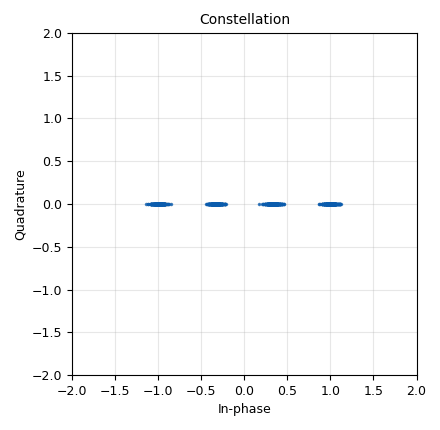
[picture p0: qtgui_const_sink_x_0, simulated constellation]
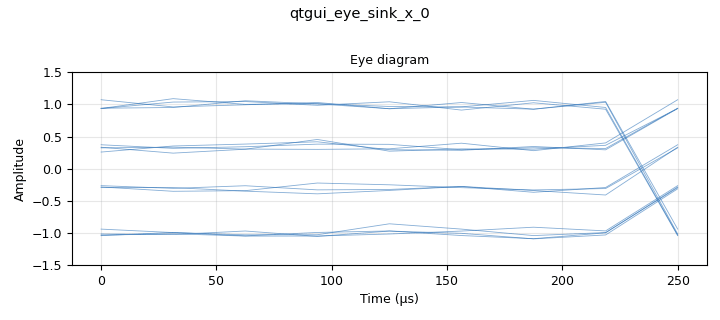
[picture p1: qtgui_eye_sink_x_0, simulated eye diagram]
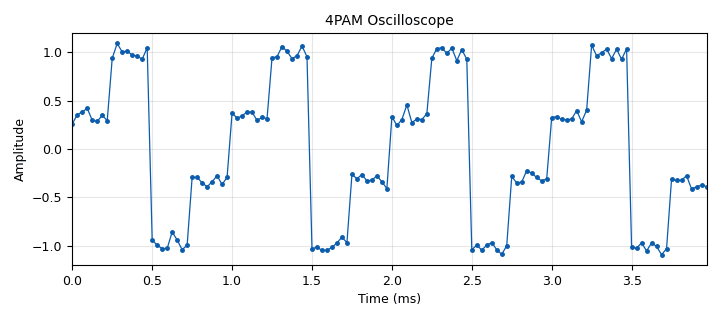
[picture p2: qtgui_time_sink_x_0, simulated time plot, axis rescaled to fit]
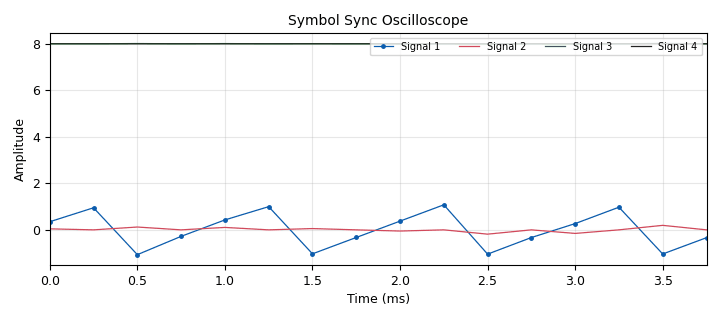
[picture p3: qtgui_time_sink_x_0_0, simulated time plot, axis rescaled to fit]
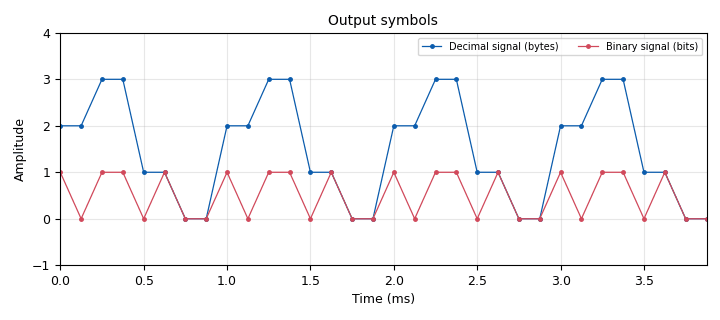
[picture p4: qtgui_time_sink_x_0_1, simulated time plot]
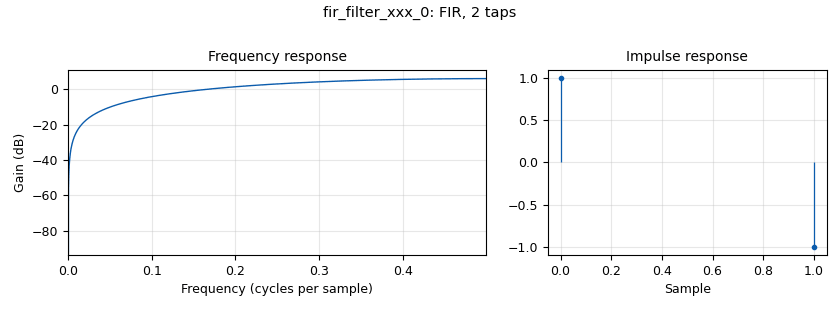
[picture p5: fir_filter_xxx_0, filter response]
options:
  parameters:
    author: Francisco Nicolás Pérez Fernández
    generate_options: qt_gui
    id: fourPAMDemodTest
    output_language: python
    title: 4-PAM Demodulation Test
  states: {}

blocks:
- name: fourPamConstellation
  id: variable_constellation
  parameters:
    comment: Verisure 4GFSK Constellation
    const_points: '[-1/3,-1,1/3,1]'
    dims: '1'
    normalization: digital.constellation.NO_NORMALIZATION
    precision: '8'
    rot_sym: '2'
    soft_dec_lut: '''auto'''
    sym_map: '[1,0,2,3]'
    type: calcdist
  states: {}
- name: samp_rate
  id: variable
  parameters:
    value: '32000'
  states: {}
- name: analog_fastnoise_source_x_0
  id: analog_fastnoise_source_x
  parameters:
    amp: '0.05'
    noise_type: analog.GR_GAUSSIAN
    samples: '8192'
    seed: '0'
    type: float
  states: {}
- name: analog_sig_source_x_0
  id: analog_sig_source_x
  parameters:
    amp: '1'
    freq: '1000'
    offset: '0'
    phase: '0'
    samp_rate: samp_rate
    type: float
    waveform: analog.GR_SAW_WAVE
  states: {}
- name: analog_sig_source_x_1
  id: analog_sig_source_x
  parameters:
    amp: '1'
    comment: Sampling signal
    freq: '2000'
    offset: '0'
    phase: '0'
    samp_rate: samp_rate
    type: float
    waveform: analog.GR_SQR_WAVE
  states: {}
- name: blocks_abs_xx_0
  id: blocks_abs_xx
  parameters:
    type: float
  states: {}
- name: blocks_add_const_vxx_0
  id: blocks_add_const_vxx
  parameters:
    const: '-1'
    type: float
  states: {}
- name: blocks_add_const_vxx_0_0
  id: blocks_add_const_vxx
  parameters:
    const: '3'
    type: float
  states: {state: disabled}
- name: blocks_add_xx_0
  id: blocks_add_xx
  parameters:
    type: float
  states: {}
- name: blocks_char_to_float_0
  id: blocks_char_to_float
  parameters:
    scale: '1'
  states: {}
- name: blocks_char_to_float_0_0
  id: blocks_char_to_float
  parameters:
    scale: '1'
  states: {}
- name: blocks_float_to_char_0
  id: blocks_float_to_char
  parameters:
    scale: '1'
  states: {}
- name: blocks_float_to_char_1
  id: blocks_float_to_char
  parameters:
    scale: '1'
  states: {state: disabled}
- name: blocks_float_to_complex_0
  id: blocks_float_to_complex
  parameters: {}
  states: {}
- name: blocks_float_to_complex_1
  id: blocks_float_to_complex
  parameters: {}
  states: {}
- name: blocks_multiply_const_xx_0
  id: blocks_multiply_const_xx
  parameters:
    const: 2*(4/3)
    type: float
  states: {}
- name: blocks_multiply_const_xx_0_0
  id: blocks_multiply_const_xx
  parameters:
    const: '3'
    type: float
  states: {state: disabled}
- name: blocks_multiply_const_xx_0_0_1
  id: blocks_multiply_const_xx
  parameters:
    const: 1/2
    type: float
  states: {state: disabled}
- name: blocks_null_source_0
  id: blocks_null_source
  parameters:
    type: float
  states: {}
- name: blocks_null_source_1
  id: blocks_null_source
  parameters:
    type: float
  states: {}
- name: blocks_repeat_0
  id: blocks_repeat
  parameters:
    interp: '2'
    type: byte
  states: {}
- name: blocks_sample_and_hold_xx_0
  id: blocks_sample_and_hold_xx
  parameters:
    type: float
  states: {}
- name: blocks_throttle_0
  id: blocks_throttle
  parameters:
    samples_per_second: samp_rate
    type: float
  states: {}
- name: blocks_unpack_k_bits_bb_0
  id: blocks_unpack_k_bits_bb
  parameters:
    comment: Aplies K factor interpolation
    k: '2'
  states: {}
- name: digital_constellation_decoder_cb_0
  id: digital_constellation_decoder_cb
  parameters:
    constellation: fourPamConstellation
  states: {}
- name: digital_constellation_receiver_cb_0
  id: digital_constellation_receiver_cb
  parameters: {}
  states: {state: disabled}
- name: digital_symbol_sync_xx_0
  id: digital_symbol_sync_xx
  parameters:
    damping: '1.0'
    loop_bw: '0.045'
    max_dev: '1.5'
    osps: '1'
    resamp_type: digital.IR_MMSE_8TAP
    sps: '8'
    ted_gain: '1.0'
    ted_type: digital.TED_ZERO_CROSSING
    type: ff
  states: {}
- name: fir_filter_xxx_0
  id: fir_filter_xxx
  parameters:
    comment: Derivator
    decim: '1'
    taps: '[1,-1]'
    type: fff
  states: {}
- name: note_0
  id: note
  parameters:
    note: '-Delta train generator-'
  states: {}
- name: note_0_0
  id: note
  parameters:
    note: '-4PAM Generator-'
  states: {}
- name: qtgui_const_sink_x_0
  id: qtgui_const_sink_x
  parameters:
    grid: 'True'
    name: '"Constellation"'
    size: '1024'
    type: complex
  states: {}
- name: qtgui_eye_sink_x_0
  id: qtgui_eye_sink_x
  parameters:
    grid: 'True'
    label1: Eye diagram
    samp_per_symbol: '4'
    size: '128'
    srate: samp_rate
    type: float
    update_time: '0.001'
    ymax: '1.5'
    ymin: '-1.5'
  states: {}
- name: qtgui_time_sink_x_0
  id: qtgui_time_sink_x
  parameters:
    grid: 'True'
    marker1: '0'
    name: '"4PAM Oscilloscope"'
    size: '128'
    srate: samp_rate
    type: float
    update_time: '0.001'
  states: {}
- name: qtgui_time_sink_x_0_0
  id: qtgui_time_sink_x
  parameters:
    grid: 'True'
    marker1: '0'
    name: '"Symbol Sync Oscilloscope"'
    nconnections: '4'
    size: int(128/8)
    srate: samp_rate/8
    type: float
    update_time: '0.001'
    ymax: '2'
    ymin: '-2'
  states: {}
- name: qtgui_time_sink_x_0_1
  id: qtgui_time_sink_x
  parameters:
    grid: 'True'
    label1: Decimal signal (bytes)
    label2: Binary signal (bits)
    marker1: '0'
    marker2: '0'
    name: '"Output symbols"'
    nconnections: '2'
    size: int(128/4)
    srate: samp_rate/4
    type: float
    update_time: '0.001'
    ymax: '4'
  states: {}
- name: virtual_sink_0
  id: virtual_sink
  parameters:
    stream_id: fourPAMsignal
  states: {}
- name: virtual_source_0
  id: virtual_source
  parameters:
    comment: 4-PAM Source
    stream_id: fourPAMsignal
  states: {}

connections:
- [analog_fastnoise_source_x_0, '0', blocks_add_xx_0, '1']
- [analog_sig_source_x_0, '0', blocks_throttle_0, '0']
- [analog_sig_source_x_1, '0', fir_filter_xxx_0, '0']
- [blocks_abs_xx_0, '0', blocks_float_to_char_0, '0']
- [blocks_add_const_vxx_0, '0', blocks_add_xx_0, '0']
- [blocks_add_const_vxx_0_0, '0', blocks_multiply_const_xx_0_0_1, '0']
- [blocks_add_xx_0, '0', blocks_float_to_complex_0, '0']
- [blocks_add_xx_0, '0', qtgui_eye_sink_x_0, '0']
- [blocks_add_xx_0, '0', qtgui_time_sink_x_0, '0']
- [blocks_add_xx_0, '0', virtual_sink_0, '0']
- [blocks_char_to_float_0, '0', qtgui_time_sink_x_0_1, '1']
- [blocks_char_to_float_0_0, '0', qtgui_time_sink_x_0_1, '0']
- [blocks_float_to_char_0, '0', blocks_sample_and_hold_xx_0, '1']
- [blocks_float_to_char_1, '0', blocks_repeat_0, '0']
- [blocks_float_to_char_1, '0', blocks_unpack_k_bits_bb_0, '0']
- [blocks_float_to_complex_0, '0', qtgui_const_sink_x_0, '0']
- [blocks_float_to_complex_1, '0', digital_constellation_decoder_cb_0, '0']
- [blocks_multiply_const_xx_0, '0', blocks_add_const_vxx_0, '0']
- [blocks_multiply_const_xx_0_0, '0', blocks_add_const_vxx_0_0, '0']
- [blocks_multiply_const_xx_0_0_1, '0', blocks_float_to_char_1, '0']
- [blocks_null_source_0, '0', blocks_float_to_complex_0, '1']
- [blocks_null_source_1, '0', blocks_float_to_complex_1, '1']
- [blocks_repeat_0, '0', blocks_char_to_float_0_0, '0']
- [blocks_sample_and_hold_xx_0, '0', blocks_multiply_const_xx_0, '0']
- [blocks_throttle_0, '0', blocks_sample_and_hold_xx_0, '0']
- [blocks_unpack_k_bits_bb_0, '0', blocks_char_to_float_0, '0']
- [digital_constellation_decoder_cb_0, '0', blocks_repeat_0, '0']
- [digital_constellation_decoder_cb_0, '0', blocks_unpack_k_bits_bb_0, '0']
- [digital_symbol_sync_xx_0, '0', blocks_float_to_complex_1, '0']
- [digital_symbol_sync_xx_0, '0', blocks_multiply_const_xx_0_0, '0']
- [digital_symbol_sync_xx_0, '0', qtgui_time_sink_x_0_0, '0']
- [digital_symbol_sync_xx_0, '1', qtgui_time_sink_x_0_0, '1']
- [digital_symbol_sync_xx_0, '2', qtgui_time_sink_x_0_0, '2']
- [digital_symbol_sync_xx_0, '3', qtgui_time_sink_x_0_0, '3']
- [fir_filter_xxx_0, '0', blocks_abs_xx_0, '0']
- [virtual_source_0, '0', digital_symbol_sync_xx_0, '0']

metadata:
  file_format: 1
  grc_version: 3.10.2.0
